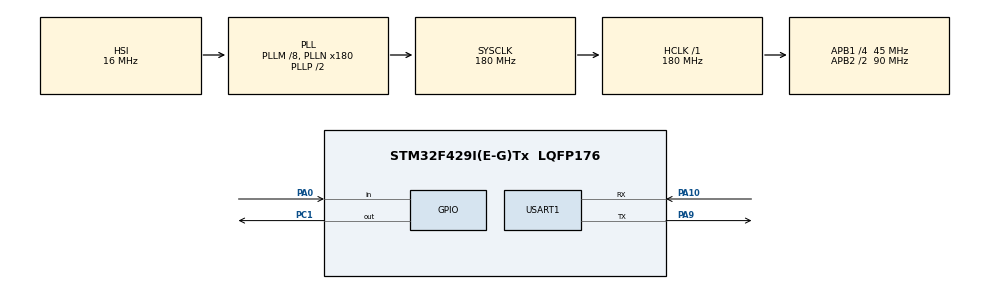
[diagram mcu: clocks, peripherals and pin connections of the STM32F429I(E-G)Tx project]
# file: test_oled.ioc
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Mcu.Family=STM32F4
Mcu.Name=STM32F429I(E-G)Tx
Mcu.Package=LQFP176
NVIC.PriorityGroup=NVIC_PRIORITYGROUP_4
NVIC.USART1_IRQn=true\:0\:0\:false\:false\:true\:true\:true\:true
PA0/WKUP.Signal=GPIO_Input
PA10.Mode=Asynchronous
PA10.Signal=USART1_RX
PA9.Mode=Asynchronous
PA9.Signal=USART1_TX
PC1.Signal=GPIO_Output
PH0/OSC_IN.Mode=HSE-External-Oscillator
PH0/OSC_IN.Signal=RCC_OSC_IN
PH1/OSC_OUT.Mode=HSE-External-Oscillator
PH1/OSC_OUT.Signal=RCC_OSC_OUT
ProjectManager.HeapSize=0x200
ProjectManager.StackSize=0x400
ProjectManager.TargetToolchain=MDK-ARM V5.32
RCC.48MHZClocksFreq_Value=90000000
RCC.AHBFreq_Value=180000000
RCC.APB1CLKDivider=RCC_HCLK_DIV4
RCC.APB1Freq_Value=45000000
RCC.APB1TimFreq_Value=90000000
RCC.APB2CLKDivider=RCC_HCLK_DIV2
RCC.APB2Freq_Value=90000000
RCC.APB2TimFreq_Value=180000000
RCC.CortexFreq_Value=180000000
RCC.HCLKFreq_Value=180000000
RCC.HSE_VALUE=25000000
RCC.HSI_VALUE=16000000
RCC.LSE_VALUE=32768
RCC.PLLM=8
RCC.PLLN=180
RCC.SYSCLKFreq_VALUE=180000000
RCC.SYSCLKSource=RCC_SYSCLKSOURCE_PLLCLK
RCC.VCOOutputFreq_Value=360000000
TIM7.Period=1
TIM7.Prescaler=89
USART1.VirtualMode=VM_ASYNC
VP_TIM7_VS_ClockSourceINT.Mode=Enable_Timer
board=custom

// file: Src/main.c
/* USER CODE BEGIN Header */
/**
  ******************************************************************************
  * @file           : main.c
  * @brief          : Main program body
  ******************************************************************************
  * @attention
  *
  * <h2><center>&copy; Copyright (c) 2024 STMicroelectronics.
  * All rights reserved.</center></h2>
  *
  * This software component is licensed by ST under BSD 3-Clause license,
  * the "License"; You may not use this file except in compliance with the
  * License. You may obtain a copy of the License at:
  *                        opensource.org/licenses/BSD-3-Clause
  *
  ******************************************************************************
  */
/* USER CODE END Header */
#include "main.h"
#include "tim.h"
#include "usart.h"
#include "gpio.h"

/* USER CODE BEGIN Includes */
#include "stdio.h"
#include "oled.h"
#include "i2c_hal.h"
#include "string.h"
/* USER CODE END Includes */

/* USER CODE BEGIN PV */
uint8_t recvData[9] = {0};
/* USER CODE END PV */

void SystemClock_Config(void);

/* USER CODE BEGIN 0 */
void HAL_UART_RxCpltCallback(UART_HandleTypeDef *huart)
{
	if(huart->Instance == USART1)
	{
		if(strncmp((char*)recvData,"LED1_ONN",8) == 0)
		{
			HAL_GPIO_WritePin(GPIOC,GPIO_PIN_1,GPIO_PIN_SET);
			OLED_ShowString(0,0, (uint8_t *)"LED1_ONN", 15);
		}
		else if(strncmp((char*)recvData,"LED1_OFF",8) == 0)
		{
			HAL_GPIO_WritePin(GPIOC,GPIO_PIN_1,GPIO_PIN_RESET);
			OLED_ShowString(0,0, (uint8_t *)"LED1_OFF", 15);
		}
		HAL_UART_Receive_IT(&huart1, recvData, sizeof(recvData)-1);
	}

}
/* USER CODE END 0 */

int main(void)
{

  /* MCU Configuration--------------------------------------------------------*/

  /* Reset of all peripherals, Initializes the Flash interface and the Systick. */
  HAL_Init();

  /* Configure the system clock */
  SystemClock_Config();

  /* Initialize all configured peripherals */
  MX_GPIO_Init();
  MX_TIM7_Init();
  MX_USART1_UART_Init();
  /* USER CODE BEGIN 2 */
  IIC_Init();
  OLED_Init();

  OLED_Clear();

	OLED_ShowString(0,10, (uint8_t *)"Festival Happy!", 15);
	OLED_ShowString(0,12, (uint8_t *)"Weekend Happy!", 15);
	OLED_ShowString(0,14, (uint8_t *)"Week Happy!", 15);
  /* USER CODE END 2 */

  /* Infinite loop */
  /* USER CODE BEGIN WHILE */
	HAL_UART_Receive_IT(&huart1, recvData, sizeof(recvData)-1);
  while (1)
  {
    /* USER CODE END WHILE */

  }
}

void SystemClock_Config(void)
{
  RCC_OscInitTypeDef RCC_OscInitStruct = {0};
  RCC_ClkInitTypeDef RCC_ClkInitStruct = {0};

  /** Configure the main internal regulator output voltage
  */
  __HAL_RCC_PWR_CLK_ENABLE();
  __HAL_PWR_VOLTAGESCALING_CONFIG(PWR_REGULATOR_VOLTAGE_SCALE1);

  /** Initializes the RCC Oscillators according to the specified parameters
  * in the RCC_OscInitTypeDef structure.
  */
  RCC_OscInitStruct.OscillatorType = RCC_OSCILLATORTYPE_HSI;
  RCC_OscInitStruct.HSIState = RCC_HSI_ON;
  RCC_OscInitStruct.HSICalibrationValue = RCC_HSICALIBRATION_DEFAULT;
  RCC_OscInitStruct.PLL.PLLState = RCC_PLL_ON;
  RCC_OscInitStruct.PLL.PLLSource = RCC_PLLSOURCE_HSI;
  RCC_OscInitStruct.PLL.PLLM = 8;
  RCC_OscInitStruct.PLL.PLLN = 180;
  RCC_OscInitStruct.PLL.PLLP = RCC_PLLP_DIV2;
  RCC_OscInitStruct.PLL.PLLQ = 4;
  if (HAL_RCC_OscConfig(&RCC_OscInitStruct) != HAL_OK)
  {
    Error_Handler();
  }

  /** Activate the Over-Drive mode
  */
  if (HAL_PWREx_EnableOverDrive() != HAL_OK)
  {
    Error_Handler();
  }

  /** Initializes the CPU, AHB and APB buses clocks
  */
  RCC_ClkInitStruct.ClockType = RCC_CLOCKTYPE_HCLK|RCC_CLOCKTYPE_SYSCLK
                              |RCC_CLOCKTYPE_PCLK1|RCC_CLOCKTYPE_PCLK2;
  RCC_ClkInitStruct.SYSCLKSource = RCC_SYSCLKSOURCE_PLLCLK;
  RCC_ClkInitStruct.AHBCLKDivider = RCC_SYSCLK_DIV1;
  RCC_ClkInitStruct.APB1CLKDivider = RCC_HCLK_DIV4;
  RCC_ClkInitStruct.APB2CLKDivider = RCC_HCLK_DIV2;

  if (HAL_RCC_ClockConfig(&RCC_ClkInitStruct, FLASH_LATENCY_5) != HAL_OK)
  {
    Error_Handler();
  }
}

void Error_Handler(void)
{
}
